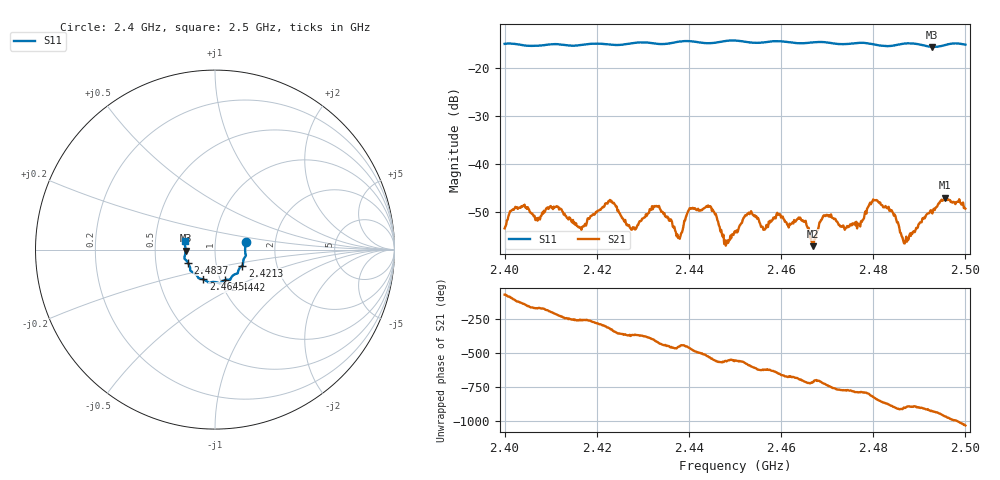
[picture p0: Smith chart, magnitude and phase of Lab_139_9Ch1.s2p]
# Hz S RI R 50
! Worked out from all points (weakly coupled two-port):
!   601 points, 2.4 GHz to 2.5 GHz, reference 50 ohm
!   highest |S21| = -47.04 dB at 2.4955 GHz (marker M1); lowest = -57.1 dB at 2.467 GHz (marker M2)
!   lowest |S11| = -15.7 dB at 2.4928 GHz (marker M3), VSWR 1.39, Z = 36 - j0.389 ohm
!   |S11| at or under -10 dB: start of sweep to end of sweep
!   S12 and S22 are empty: the file has one direction only
!   S11 on the Smith chart (normalised r, x): 2.4 GHz: 1.41, +0.12; 2.4213 GHz: 1.33, -0.25; 2.4442 GHz: 1.05, -0.37; 2.4645 GHz: 0.83, -0.29; 2.4837 GHz: 0.73, -0.11; 2.5 GHz: 0.71, +0.07
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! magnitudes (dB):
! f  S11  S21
! 2.4 GHz  -15.1  -53.4
! 2.4042 GHz  -15.4  -48.8
! 2.4167 GHz  -15.3  -53.7
! 2.4213 GHz  -15.1  -48.9
! 2.428 GHz  -14.9  -53.4
! 2.4333 GHz  -15.1  -48.9
! 2.4378 GHz  -14.6  -55.3
! 2.4402 GHz  -14.5  -49.2
! 2.4442 GHz  -15.0  -48.6
! 2.4482 GHz  -14.5  -56.4
! 2.45 GHz  -14.4  -54.0
! 2.4532 GHz  -14.8  -50.4
! 2.4645 GHz  -15.0  -51.8
! 2.4667 GHz  -14.8  -56.2
! 2.467 GHz  -14.8  -57.1
! 2.4695 GHz  -14.8  -50.8
! 2.4833 GHz  -15.6  -48.9
! 2.4837 GHz  -15.5  -49.5
! 2.487 GHz  -15.0  -56.1
! 2.4928 GHz  -15.7  -50.3
! 2.4955 GHz  -15.4  -47.0
! 2.5 GHz  -15.3  -49.3
